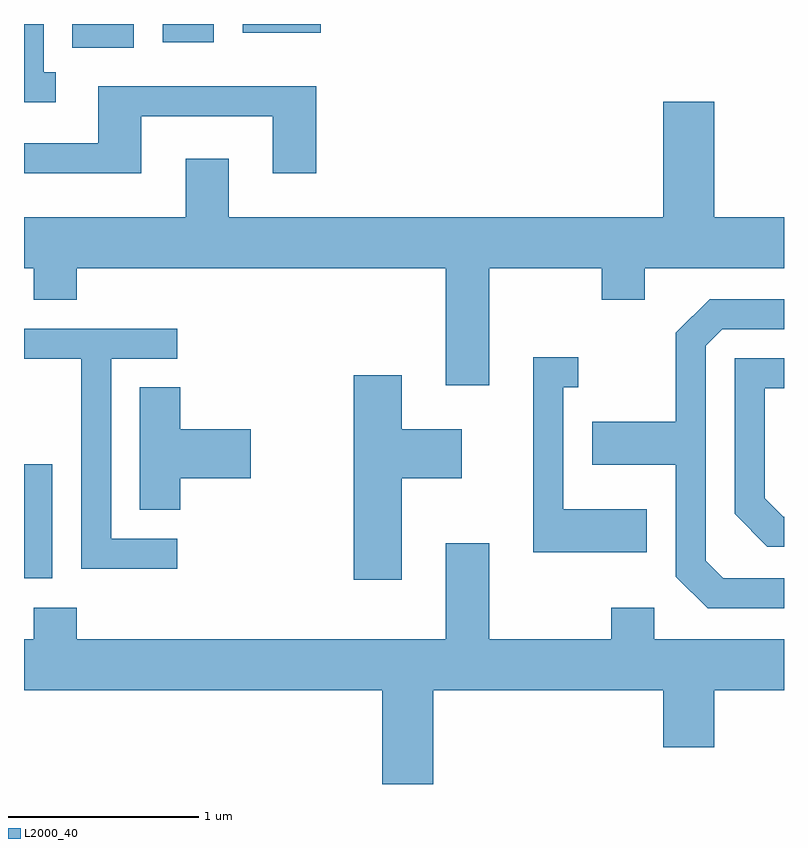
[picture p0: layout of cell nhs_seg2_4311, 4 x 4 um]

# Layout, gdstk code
import gdstk
lib = gdstk.Library(unit=1e-6, precision=1e-09)
def R(c, l, rs):  # rectangles x0, y0, x1, y1
    for r in rs: c.add(gdstk.rectangle(r[:2], r[2:], *l))
def P(c, l, *ps):  # polygons
    for p in ps: c.add(gdstk.Polygon(p, *l))
L2000_40 = (2000, 40)

nhs_seg2_4311 = lib.new_cell('nhs_seg2_4311')
R(nhs_seg2_4311, L2000_40, [(311.611,1068.886,311.759,1069.484), (311.866,1071.676,312.189,1071.802), (312.341,1071.706,312.609,1071.802), (312.761,1071.756,313.174,1071.802)])
P(nhs_seg2_4311, L2000_40, [(311.778,1071.549),(311.714,1071.549),(311.714,1071.802),(311.611,1071.802),(311.611,1071.391),(311.778,1071.391)],
  [(312.229,1071.316),(312.921,1071.316),(312.921,1071.016),(313.149,1071.016),(313.149,1071.474),(312.001,1071.474),(312.001,1071.174),(311.611,1071.174),(311.611,1071.016),(312.229,1071.016)],
  [(314.059,1070.516),(314.651,1070.516),(314.651,1070.351),(314.879,1070.351),(314.879,1070.516),(315.611,1070.516),(315.611,1070.784),(315.244,1070.784),(315.244,1071.394),(314.976,1071.394),(314.976,1070.784),(312.689,1070.784),(312.689,1071.094),(312.461,1071.094),(312.461,1070.784),(311.611,1070.784),(311.611,1070.516),(311.661,1070.516),(311.661,1070.351),(311.889,1070.351),(311.889,1070.516),(313.831,1070.516),(313.831,1069.901),(314.059,1069.901)],
  [(315.611,1068.884),(315.292,1068.884),(315.199,1068.977),(315.199,1070.109),(315.287,1070.196),(315.611,1070.196),(315.611,1070.354),(315.219,1070.354),(315.041,1070.177),(315.041,1069.709),(314.601,1069.709),(314.601,1069.481),(315.041,1069.481),(315.041,1068.894),(315.209,1068.726),(315.611,1068.726)],
  [(312.418,1069.094),(312.069,1069.094),(312.069,1070.041),(312.418,1070.041),(312.418,1070.199),(311.611,1070.199),(311.611,1070.041),(311.911,1070.041),(311.911,1068.936),(312.418,1068.936)],
  [(314.889,1069.249),(314.449,1069.249),(314.449,1069.891),(314.528,1069.891),(314.528,1070.049),(314.291,1070.049),(314.291,1069.021),(314.889,1069.021)],
  [(315.611,1069.209),(315.607,1069.209),(315.509,1069.307),(315.509,1069.886),(315.611,1069.886),(315.611,1070.044),(315.351,1070.044),(315.351,1069.224),(315.524,1069.051),(315.611,1069.051)],
  [(313.599,1069.411),(313.914,1069.411),(313.914,1069.669),(313.599,1069.669),(313.599,1069.954),(313.346,1069.954),(313.346,1068.876),(313.599,1068.876)],
  [(312.434,1069.411),(312.804,1069.411),(312.804,1069.669),(312.434,1069.669),(312.434,1069.889),(312.221,1069.889),(312.221,1069.246),(312.434,1069.246)],
  [(313.764,1068.296),(314.976,1068.296),(314.976,1067.996),(315.244,1067.996),(315.244,1068.296),(315.611,1068.296),(315.611,1068.564),(314.929,1068.564),(314.929,1068.729),(314.701,1068.729),(314.701,1068.564),(314.059,1068.564),(314.059,1069.069),(313.831,1069.069),(313.831,1068.564),(311.889,1068.564),(311.889,1068.729),(311.661,1068.729),(311.661,1068.564),(311.611,1068.564),(311.611,1068.296),(313.496,1068.296),(313.496,1067.802),(313.764,1067.802)])

lib.write_gds('nhs_seg2_4311.gds')
